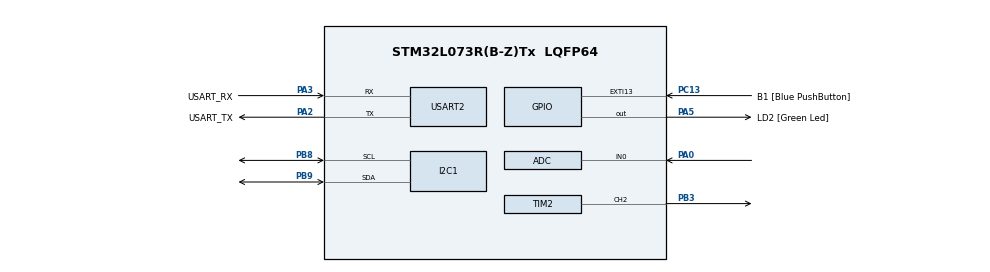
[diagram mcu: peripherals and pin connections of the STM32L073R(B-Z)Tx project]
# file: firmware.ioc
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ADC.ContinuousConvMode=ENABLE
ADC.DMAContinuousRequests=ENABLE
Dma.ADC.0.Direction=DMA_PERIPH_TO_MEMORY
Dma.ADC.0.Instance=DMA1_Channel1
Dma.ADC.0.MemDataAlignment=DMA_MDATAALIGN_WORD
Dma.ADC.0.MemInc=DMA_MINC_ENABLE
Dma.ADC.0.Mode=DMA_CIRCULAR
Dma.ADC.0.PeriphDataAlignment=DMA_PDATAALIGN_WORD
Dma.ADC.0.PeriphInc=DMA_PINC_DISABLE
Dma.ADC.0.Priority=DMA_PRIORITY_HIGH
Dma.Request0=ADC
I2C1.Timing=0x00707CBB
Mcu.Family=STM32L0
Mcu.Name=STM32L073R(B-Z)Tx
Mcu.Package=LQFP64
NVIC.DMA1_Channel1_IRQn=true\:0\:0\:false\:false\:true\:false\:true\:true
PA0.Mode=IN0
PA0.Signal=ADC_IN0
PA13.GPIO_Label=TMS
PA13.Mode=Serial_Wire
PA13.Signal=SYS_SWDIO
PA14.GPIO_Label=TCK
PA14.Mode=Serial_Wire
PA14.Signal=SYS_SWCLK
PA2.GPIO_Label=USART_TX
PA2.Mode=Asynchronous
PA2.Signal=USART2_TX
PA3.GPIO_Label=USART_RX
PA3.Mode=Asynchronous
PA3.Signal=USART2_RX
PA5.GPIO_Label=LD2 [Green Led]
PA5.Signal=GPIO_Output
PB3.Signal=S_TIM2_CH2
PB8.Mode=I2C
PB8.Signal=I2C1_SCL
PB9.Mode=I2C
PB9.Signal=I2C1_SDA
PC13.GPIO_Label=B1 [Blue PushButton]
PC13.GPIO_ModeDefaultEXTI=GPIO_MODE_IT_FALLING
PC13.Signal=GPXTI13
PC14-OSC32_IN.Mode=LSE-External-Oscillator
PC14-OSC32_IN.Signal=RCC_OSC32_IN
PC15-OSC32_OUT.Mode=LSE-External-Oscillator
PC15-OSC32_OUT.Signal=RCC_OSC32_OUT
PH0-OSC_IN.GPIO_Label=MCO
PH0-OSC_IN.Mode=HSE-External-Clock-Source
PH0-OSC_IN.Signal=RCC_OSC_IN
ProjectManager.HeapSize=0x200
ProjectManager.StackSize=0x400
ProjectManager.TargetToolchain=STM32CubeIDE
RCC.AHBFreq_Value=32000000
RCC.APB1Freq_Value=32000000
RCC.APB1TimFreq_Value=32000000
RCC.APB2Freq_Value=32000000
RCC.APB2TimFreq_Value=32000000
RCC.HCLKFreq_Value=32000000
RCC.HSE_VALUE=8000000
RCC.HSI16_VALUE=16000000
RCC.HSI48_VALUE=48000000
RCC.HSI_VALUE=16000000
RCC.MSI_VALUE=2097000
RCC.PLLMUL=RCC_PLLMUL_4
RCC.SYSCLKFreq_VALUE=32000000
RCC.SYSCLKSource=RCC_SYSCLKSOURCE_PLLCLK
RCC.VCOOutputFreq_Value=64000000
SH.S_TIM2_CH2.0=TIM2_CH2,PWM Generation2 CH2
TIM2.Channel-PWM\ Generation2\ CH2=TIM_CHANNEL_2
TIM2.Period=1000
TIM2.Prescaler=639
TIM2.Pulse-PWM\ Generation2\ CH2=50
USART2.VirtualMode-Asynchronous=VM_ASYNC
board=NUCLEO-L073RZ

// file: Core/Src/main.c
/* USER CODE BEGIN Header */
/**
 ******************************************************************************
 * @file           : main.c
 * @brief          : Main program body
 ******************************************************************************
 * @attention
 *
 * Copyright (c) 2022 STMicroelectronics.
 * All rights reserved.
 *
 * This software is licensed under terms that can be found in the LICENSE file
 * in the root directory of this software component.
 * If no LICENSE file comes with this software, it is provided AS-IS.
 *
 ******************************************************************************
 */
/* USER CODE END Header */
#include "main.h"

/* USER CODE BEGIN Includes */
#include "HTS221.h"
#include "LIS2DW12.h"
#include "LPS22HH.h"
#include "stdio.h"
#include "stdlib.h"
/* USER CODE END Includes */

ADC_HandleTypeDef hadc;
DMA_HandleTypeDef hdma_adc;

I2C_HandleTypeDef hi2c1;

TIM_HandleTypeDef htim2;

void SystemClock_Config(void);

static void MX_GPIO_Init(void);

static void MX_DMA_Init(void);

static void MX_I2C1_Init(void);

static void MX_USART2_UART_Init(void);

static void MX_ADC_Init(void);

static void MX_TIM2_Init(void);

/* USER CODE BEGIN 0 */
uint8_t HTS221_IO_Write(void *handle, uint8_t WriteAddr, uint8_t *pBuffer, uint16_t nBytesToWrite) {
  HAL_I2C_Mem_Write(handle, HTS221_I2C_ADDRESS, WriteAddr, I2C_MEMADD_SIZE_8BIT, pBuffer, nBytesToWrite, 1000);
}

uint8_t HTS221_IO_Read(void *handle, uint8_t ReadAddr, uint8_t *pBuffer, uint16_t nBytesToRead) {
  HAL_I2C_Mem_Read(handle, HTS221_I2C_ADDRESS, ReadAddr, I2C_MEMADD_SIZE_8BIT, pBuffer, nBytesToRead, 1000);
}

uint8_t LPS22HH_IO_Write(void *handle, uint8_t WriteAddr, uint8_t *pBuffer, uint16_t nBytesToWrite) {
  HAL_I2C_Mem_Write(handle, LPS22HH_I2C_ADD_H, WriteAddr, I2C_MEMADD_SIZE_8BIT, pBuffer, nBytesToWrite, 1000);
}

uint8_t LPS22HH_IO_Read(void *handle, uint8_t ReadAddr, uint8_t *pBuffer, uint16_t nBytesToRead) {
  HAL_I2C_Mem_Read(handle, LPS22HH_I2C_ADD_H, ReadAddr, I2C_MEMADD_SIZE_8BIT, pBuffer, nBytesToRead, 1000);
}

uint8_t LIS2DW12_IO_Write(void *handle, uint8_t WriteAddr, uint8_t *pBuffer, uint16_t nBytesToWrite) {
  HAL_I2C_Mem_Write(handle, LIS2DW12_I2C_ADD_H, WriteAddr, I2C_MEMADD_SIZE_8BIT, pBuffer, nBytesToWrite, 1000);
}

uint8_t LIS2DW12_IO_Read(void *handle, uint8_t ReadAddr, uint8_t *pBuffer, uint16_t nBytesToRead) {
  HAL_I2C_Mem_Read(handle, LIS2DW12_I2C_ADD_H, ReadAddr, I2C_MEMADD_SIZE_8BIT, pBuffer, nBytesToRead, 1000);
}

#ifdef __GNUC__
#define PUTCHAR_PROTOTYPE int __io_putchar(int c)
#else
#define PUTCHAR_PROTOTYPE int fputc(int c, FILE *f)
#endif

PUTCHAR_PROTOTYPE {
  while (LL_USART_IsActiveFlag_TXE(USART2) == RESET) {
  }
  LL_USART_TransmitData8(USART2, (char)c);
  return c;
}
/* USER CODE END 0 */

int main(void) {

  /* MCU Configuration--------------------------------------------------------*/

  /* Reset of all peripherals, Initializes the Flash interface and the Systick. */
  HAL_Init();

  /* Configure the system clock */
  SystemClock_Config();

  /* Initialize all configured peripherals */
  MX_GPIO_Init();
  MX_DMA_Init();
  MX_I2C1_Init();
  MX_USART2_UART_Init();
  MX_ADC_Init();
  MX_TIM2_Init();
  /* USER CODE BEGIN 2 */
  static HTS221_Error_et hts221_err;
  static int32_t lps22hh_err;
  hts221_err = HTS221_DeActivate(&hi2c1);
  hts221_err = HTS221_Set_BduMode(&hi2c1, HTS221_ENABLE);
  hts221_err = HTS221_Set_Odr(&hi2c1, HTS221_ODR_1HZ);
  hts221_err = HTS221_Activate(&hi2c1);

  lps22hh_err = lps22hh_i3c_interface_set(&hi2c1, LPS22HH_I3C_DISABLE);
  lps22hh_err = lps22hh_data_rate_set(&hi2c1, (lps22hh_odr_t)(LPS22HH_POWER_DOWN | 0x10));
  lps22hh_err = lps22hh_lp_bandwidth_set(&hi2c1, LPS22HH_LPF_ODR_DIV_2);
  lps22hh_err = lps22hh_block_data_update_set(&hi2c1, PROPERTY_ENABLE);
  lps22hh_err = lps22hh_auto_increment_set(&hi2c1, PROPERTY_ENABLE);
  lps22hh_err = lps22hh_data_rate_set(&hi2c1, LPS22HH_10_Hz_LOW_NOISE);

  static int32_t lis2dw12_err;
  lis2dw12_err = lis2dw12_auto_increment_set(&hi2c1, PROPERTY_ENABLE);
  lis2dw12_err = lis2dw12_block_data_update_set(&hi2c1, PROPERTY_ENABLE);
  lis2dw12_err = lis2dw12_fifo_mode_set(&hi2c1, LIS2DW12_BYPASS_MODE);
  lis2dw12_err = lis2dw12_power_mode_set(&hi2c1, LIS2DW12_HIGH_PERFORMANCE);
  lis2dw12_err = lis2dw12_data_rate_set(&hi2c1, LIS2DW12_XL_ODR_OFF);
  lis2dw12_err = lis2dw12_full_scale_set(&hi2c1, LIS2DW12_2g);
  lis2dw12_err = lis2dw12_data_rate_set(&hi2c1, LIS2DW12_XL_ODR_1Hz6_LP_ONLY);
  lis2dw12_err = lis2dw12_power_mode_set(&hi2c1, LIS2DW12_HIGH_PERFORMANCE_LOW_NOISE);

  static uint32_t AD_DMA;
  HAL_ADC_Start(&hadc);

  HAL_TIM_PWM_Start(&htim2, TIM_CHANNEL_2);

  LL_mDelay(10);
  static axis3bit16_t acc;
  static int16_t offset_acc_x, acc_x;
  static int16_t offset_acc_y, acc_y;
  static int16_t offset_acc_z, acc_z;
  static uint16_t hum, tmp, servo, wind, eq;
  static axis1bit32_t raw_pressure;
  static uint32_t t = 0;
  lis2dw12_err = lis2dw12_acceleration_raw_get(&hi2c1, acc.u8bit);
  offset_acc_x = (acc.i16bit[0] / 16);
  offset_acc_y = (acc.i16bit[1] / 16);
  offset_acc_z = (acc.i16bit[2] / 16);
  /* USER CODE END 2 */

  /* Infinite loop */
  while (1) {

    /* USER CODE BEGIN 3 */
    lis2dw12_err = lis2dw12_acceleration_raw_get(&hi2c1, acc.u8bit);
    acc_x = (acc.i16bit[0] / 16) - offset_acc_x;
    acc_y = (acc.i16bit[1] / 16) - offset_acc_y;
    acc_z = (acc.i16bit[2] / 16) - offset_acc_z;
    eq = acc_x * acc_x + acc_y * acc_y >= 500;
    t++;
    LL_mDelay(1);
    if (t % 700 == 0) {
      hts221_err = HTS221_Get_Measurement(&hi2c1, &hum, &tmp);
      static uint32_t t = 0;
      lps22hh_err = lps22hh_pressure_raw_get(&hi2c1, raw_pressure.u8bit);
      HAL_ADC_PollForConversion(&hadc, HAL_MAX_DELAY);
      AD_DMA = HAL_ADC_GetValue(&hadc);
      if (AD_DMA > 1100) {
        wind = 1;
      } else if (AD_DMA < 1000) {
        wind = 0;
      }
      servo = wind | eq;
      printf("%lu,%lu,%lu,%lu,%f,%lu,%lu\r\n", t, tmp, hum, AD_DMA, (float)raw_pressure.i32bit / 4096.0, servo, eq);
    }
    __HAL_TIM_SetCompare(&htim2, TIM_CHANNEL_2, 1000 * (servo ? 0.05 : 0.1));
  }
  /* USER CODE END 3 */
}

void SystemClock_Config(void) {
  LL_FLASH_SetLatency(LL_FLASH_LATENCY_1);
  while (LL_FLASH_GetLatency() != LL_FLASH_LATENCY_1) {
  }
  LL_PWR_SetRegulVoltageScaling(LL_PWR_REGU_VOLTAGE_SCALE1);
  LL_RCC_HSI_Enable();

  /* Wait till HSI is ready */
  while (LL_RCC_HSI_IsReady() != 1) {
  }
  LL_RCC_HSI_SetCalibTrimming(16);
  LL_RCC_PLL_ConfigDomain_SYS(LL_RCC_PLLSOURCE_HSI, LL_RCC_PLL_MUL_4, LL_RCC_PLL_DIV_2);
  LL_RCC_PLL_Enable();

  /* Wait till PLL is ready */
  while (LL_RCC_PLL_IsReady() != 1) {
  }
  LL_RCC_SetAHBPrescaler(LL_RCC_SYSCLK_DIV_1);
  LL_RCC_SetAPB1Prescaler(LL_RCC_APB1_DIV_1);
  LL_RCC_SetAPB2Prescaler(LL_RCC_APB2_DIV_1);
  LL_RCC_SetSysClkSource(LL_RCC_SYS_CLKSOURCE_PLL);

  /* Wait till System clock is ready */
  while (LL_RCC_GetSysClkSource() != LL_RCC_SYS_CLKSOURCE_STATUS_PLL) {
  }
  LL_SetSystemCoreClock(32000000);

  /* Update the time base */
  if (HAL_InitTick(TICK_INT_PRIORITY) != HAL_OK) {
    Error_Handler();
  }
  LL_RCC_SetUSARTClockSource(LL_RCC_USART2_CLKSOURCE_PCLK1);
  LL_RCC_SetI2CClockSource(LL_RCC_I2C1_CLKSOURCE_PCLK1);
}

static void MX_ADC_Init(void) {

  ADC_ChannelConfTypeDef sConfig = {0};

  /** Configure the global features of the ADC (Clock, Resolution, Data Alignment and number of conversion)
   */
  hadc.Instance = ADC1;
  hadc.Init.OversamplingMode = DISABLE;
  hadc.Init.ClockPrescaler = ADC_CLOCK_SYNC_PCLK_DIV2;
  hadc.Init.Resolution = ADC_RESOLUTION_12B;
  hadc.Init.SamplingTime = ADC_SAMPLETIME_1CYCLE_5;
  hadc.Init.ScanConvMode = ADC_SCAN_DIRECTION_FORWARD;
  hadc.Init.DataAlign = ADC_DATAALIGN_RIGHT;
  hadc.Init.ContinuousConvMode = ENABLE;
  hadc.Init.DiscontinuousConvMode = DISABLE;
  hadc.Init.ExternalTrigConvEdge = ADC_EXTERNALTRIGCONVEDGE_NONE;
  hadc.Init.ExternalTrigConv = ADC_SOFTWARE_START;
  hadc.Init.DMAContinuousRequests = ENABLE;
  hadc.Init.EOCSelection = ADC_EOC_SINGLE_CONV;
  hadc.Init.Overrun = ADC_OVR_DATA_PRESERVED;
  hadc.Init.LowPowerAutoWait = DISABLE;
  hadc.Init.LowPowerFrequencyMode = DISABLE;
  hadc.Init.LowPowerAutoPowerOff = DISABLE;
  if (HAL_ADC_Init(&hadc) != HAL_OK) {
    Error_Handler();
  }

  /** Configure for the selected ADC regular channel to be converted.
   */
  sConfig.Channel = ADC_CHANNEL_0;
  sConfig.Rank = ADC_RANK_CHANNEL_NUMBER;
  if (HAL_ADC_ConfigChannel(&hadc, &sConfig) != HAL_OK) {
    Error_Handler();
  }
}

static void MX_I2C1_Init(void) {

  hi2c1.Instance = I2C1;
  hi2c1.Init.Timing = 0x00707CBB;
  hi2c1.Init.OwnAddress1 = 0;
  hi2c1.Init.AddressingMode = I2C_ADDRESSINGMODE_7BIT;
  hi2c1.Init.DualAddressMode = I2C_DUALADDRESS_DISABLE;
  hi2c1.Init.OwnAddress2 = 0;
  hi2c1.Init.OwnAddress2Masks = I2C_OA2_NOMASK;
  hi2c1.Init.GeneralCallMode = I2C_GENERALCALL_DISABLE;
  hi2c1.Init.NoStretchMode = I2C_NOSTRETCH_DISABLE;
  if (HAL_I2C_Init(&hi2c1) != HAL_OK) {
    Error_Handler();
  }

  /** Configure Analogue filter
   */
  if (HAL_I2CEx_ConfigAnalogFilter(&hi2c1, I2C_ANALOGFILTER_ENABLE) != HAL_OK) {
    Error_Handler();
  }

  /** Configure Digital filter
   */
  if (HAL_I2CEx_ConfigDigitalFilter(&hi2c1, 0) != HAL_OK) {
    Error_Handler();
  }
}

static void MX_TIM2_Init(void) {

  TIM_MasterConfigTypeDef sMasterConfig = {0};
  TIM_OC_InitTypeDef sConfigOC = {0};

  htim2.Instance = TIM2;
  htim2.Init.Prescaler = 639;
  htim2.Init.CounterMode = TIM_COUNTERMODE_UP;
  htim2.Init.Period = 1000;
  htim2.Init.ClockDivision = TIM_CLOCKDIVISION_DIV1;
  htim2.Init.AutoReloadPreload = TIM_AUTORELOAD_PRELOAD_DISABLE;
  if (HAL_TIM_PWM_Init(&htim2) != HAL_OK) {
    Error_Handler();
  }
  sMasterConfig.MasterOutputTrigger = TIM_TRGO_RESET;
  sMasterConfig.MasterSlaveMode = TIM_MASTERSLAVEMODE_DISABLE;
  if (HAL_TIMEx_MasterConfigSynchronization(&htim2, &sMasterConfig) != HAL_OK) {
    Error_Handler();
  }
  sConfigOC.OCMode = TIM_OCMODE_PWM1;
  sConfigOC.Pulse = 50;
  sConfigOC.OCPolarity = TIM_OCPOLARITY_HIGH;
  sConfigOC.OCFastMode = TIM_OCFAST_DISABLE;
  if (HAL_TIM_PWM_ConfigChannel(&htim2, &sConfigOC, TIM_CHANNEL_2) != HAL_OK) {
    Error_Handler();
  }
  HAL_TIM_MspPostInit(&htim2);
}

static void MX_USART2_UART_Init(void) {

  LL_USART_InitTypeDef USART_InitStruct = {0};

  LL_GPIO_InitTypeDef GPIO_InitStruct = {0};

  /* Peripheral clock enable */
  LL_APB1_GRP1_EnableClock(LL_APB1_GRP1_PERIPH_USART2);

  LL_IOP_GRP1_EnableClock(LL_IOP_GRP1_PERIPH_GPIOA);
  /**USART2 GPIO Configuration
  PA2   ------> USART2_TX
  PA3   ------> USART2_RX
  */
  GPIO_InitStruct.Pin = USART_TX_Pin;
  GPIO_InitStruct.Mode = LL_GPIO_MODE_ALTERNATE;
  GPIO_InitStruct.Speed = LL_GPIO_SPEED_FREQ_VERY_HIGH;
  GPIO_InitStruct.OutputType = LL_GPIO_OUTPUT_PUSHPULL;
  GPIO_InitStruct.Pull = LL_GPIO_PULL_NO;
  GPIO_InitStruct.Alternate = LL_GPIO_AF_4;
  LL_GPIO_Init(USART_TX_GPIO_Port, &GPIO_InitStruct);

  GPIO_InitStruct.Pin = USART_RX_Pin;
  GPIO_InitStruct.Mode = LL_GPIO_MODE_ALTERNATE;
  GPIO_InitStruct.Speed = LL_GPIO_SPEED_FREQ_VERY_HIGH;
  GPIO_InitStruct.OutputType = LL_GPIO_OUTPUT_PUSHPULL;
  GPIO_InitStruct.Pull = LL_GPIO_PULL_NO;
  GPIO_InitStruct.Alternate = LL_GPIO_AF_4;
  LL_GPIO_Init(USART_RX_GPIO_Port, &GPIO_InitStruct);

  USART_InitStruct.BaudRate = 115200;
  USART_InitStruct.DataWidth = LL_USART_DATAWIDTH_8B;
  USART_InitStruct.StopBits = LL_USART_STOPBITS_1;
  USART_InitStruct.Parity = LL_USART_PARITY_NONE;
  USART_InitStruct.TransferDirection = LL_USART_DIRECTION_TX_RX;
  USART_InitStruct.HardwareFlowControl = LL_USART_HWCONTROL_NONE;
  USART_InitStruct.OverSampling = LL_USART_OVERSAMPLING_16;
  LL_USART_Init(USART2, &USART_InitStruct);
  LL_USART_ConfigAsyncMode(USART2);
  LL_USART_Enable(USART2);
}

static void MX_DMA_Init(void) {
  /* DMA controller clock enable */
  __HAL_RCC_DMA1_CLK_ENABLE();

  /* DMA interrupt init */
  /* DMA1_Channel1_IRQn interrupt configuration */
  HAL_NVIC_SetPriority(DMA1_Channel1_IRQn, 0, 0);
  HAL_NVIC_EnableIRQ(DMA1_Channel1_IRQn);
}

static void MX_GPIO_Init(void) {
  LL_EXTI_InitTypeDef EXTI_InitStruct = {0};
  LL_GPIO_InitTypeDef GPIO_InitStruct = {0};

  /* GPIO Ports Clock Enable */
  LL_IOP_GRP1_EnableClock(LL_IOP_GRP1_PERIPH_GPIOC);
  LL_IOP_GRP1_EnableClock(LL_IOP_GRP1_PERIPH_GPIOH);
  LL_IOP_GRP1_EnableClock(LL_IOP_GRP1_PERIPH_GPIOA);
  LL_IOP_GRP1_EnableClock(LL_IOP_GRP1_PERIPH_GPIOB);

  /**/
  LL_GPIO_ResetOutputPin(LD2_GPIO_Port, LD2_Pin);

  /**/
  LL_SYSCFG_SetEXTISource(LL_SYSCFG_EXTI_PORTC, LL_SYSCFG_EXTI_LINE13);

  /**/
  LL_GPIO_SetPinPull(B1_GPIO_Port, B1_Pin, LL_GPIO_PULL_NO);

  /**/
  LL_GPIO_SetPinMode(B1_GPIO_Port, B1_Pin, LL_GPIO_MODE_INPUT);

  /**/
  EXTI_InitStruct.Line_0_31 = LL_EXTI_LINE_13;
  EXTI_InitStruct.LineCommand = ENABLE;
  EXTI_InitStruct.Mode = LL_EXTI_MODE_IT;
  EXTI_InitStruct.Trigger = LL_EXTI_TRIGGER_FALLING;
  LL_EXTI_Init(&EXTI_InitStruct);

  /**/
  GPIO_InitStruct.Pin = LD2_Pin;
  GPIO_InitStruct.Mode = LL_GPIO_MODE_OUTPUT;
  GPIO_InitStruct.Speed = LL_GPIO_SPEED_FREQ_LOW;
  GPIO_InitStruct.OutputType = LL_GPIO_OUTPUT_PUSHPULL;
  GPIO_InitStruct.Pull = LL_GPIO_PULL_NO;
  LL_GPIO_Init(LD2_GPIO_Port, &GPIO_InitStruct);
}

void Error_Handler(void) {
  __disable_irq();
  while (1) {
  }
}
